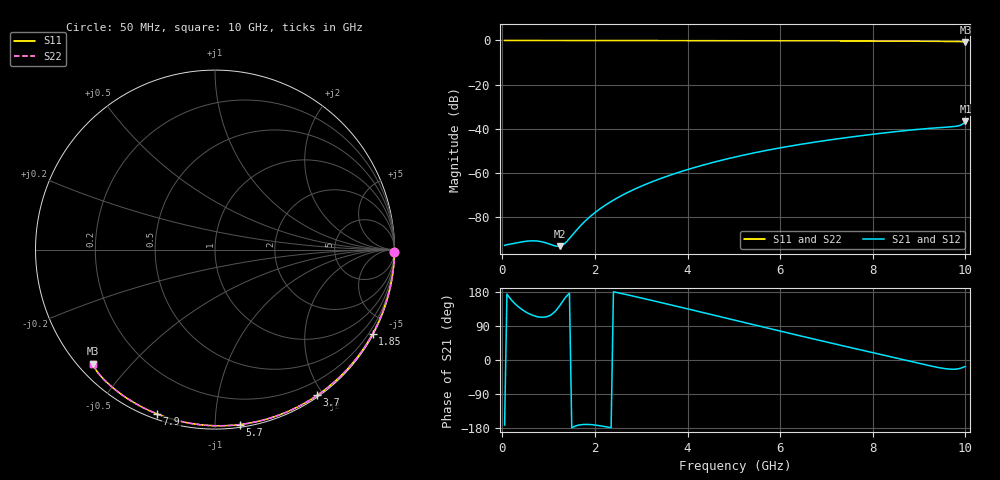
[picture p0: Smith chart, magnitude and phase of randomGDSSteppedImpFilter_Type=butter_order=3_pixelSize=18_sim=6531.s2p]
! freq	dB(S11)	phase(S11)	dB(S12)	phase(S12)
!  dB(S21)	phase(S21)	dB(S22)	phase(S22)
!S-par simulation data
#  GHz  S  DB  R 50
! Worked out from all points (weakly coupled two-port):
!   200 points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, 50 MHz to 10 GHz, reference 50 ohm
!   highest |S21| = -36.73 dB at 10 GHz (marker M1); lowest = -93.2 dB at 1.25 GHz (marker M2)
!   lowest |S11| = -0.6 dB at 10 GHz (marker M3), VSWR 27.49, Z = 2.1 - j19.7 ohm
!   |S11| at or under -10 dB: nowhere
!   |S22| runs from -0.6 to 0.0 dB; largest |S21 - S12| = 0
!   S11 on the Smith chart (normalised r, x): 50 MHz: open; 1.85 GHz: 0.03, -3.99; 3.7 GHz: 0.02, -1.92; 5.7 GHz: 0.02, -1.15; 7.9 GHz: 0.02, -0.71; 10 GHz: 0.04, -0.39
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0.05  -0.00 -0.8  -92.89 -171.7  -92.89 -171.7  -0.00 -0.8
0.65  -0.01 -10.0  -90.82 118.3  -90.82 118.3  -0.01 -10.0
1.25  -0.02 -19.1  -93.24 145.1  -93.24 145.1  -0.02 -19.1
1.75  -0.03 -26.6  -82.67 -170.2  -82.67 -170.2  -0.03 -26.6
1.85  -0.04 -28.1  -80.68 -170.1  -80.68 -170.1  -0.04 -28.1
1.9  -0.04 -28.9  -79.76 -170.4  -79.76 -170.4  -0.04 -28.9
2.2  -0.04 -33.3  -74.99 -175.3  -74.99 -175.3  -0.04 -33.3
2.55  -0.05 -38.5  -70.59 176.1  -70.59 176.1  -0.05 -38.5
2.95  -0.06 -44.3  -66.52 165.1  -66.52 165.1  -0.06 -44.3
3.4  -0.07 -50.7  -62.73 152.3  -62.73 152.3  -0.07 -50.7
3.7  -0.07 -54.9  -60.52 143.7  -60.52 143.7  -0.07 -55.0
4.35  -0.09 -64.0  -56.40 124.8  -56.40 124.8  -0.09 -64.0
5.05  -0.11 -73.4  -52.72 104.2  -52.72 104.2  -0.11 -73.4
5.7  -0.14 -82.0  -49.85 85.1  -49.85 85.1  -0.14 -82.0
6.7  -0.18 -94.7  -46.23 56.1  -46.23 56.1  -0.18 -94.8
7.9  -0.26 -109.5  -42.77 22.1  -42.77 22.1  -0.26 -109.6
8.35  -0.29 -115.0  -41.66 9.4  -41.66 9.4  -0.29 -115.1
9.2  -0.37 -125.5  -39.89 -14.5  -39.89 -14.5  -0.37 -125.5
9.8  -0.48 -133.5  -38.89 -24.1  -38.89 -24.1  -0.48 -133.5
9.9  -0.53 -135.1  -38.35 -21.6  -38.35 -21.6  -0.53 -135.1
9.95  -0.57 -135.9  -37.76 -19.3  -37.76 -19.3  -0.57 -136.0
10  -0.63 -136.9  -36.73 -17.1  -36.73 -17.1  -0.63 -136.9
